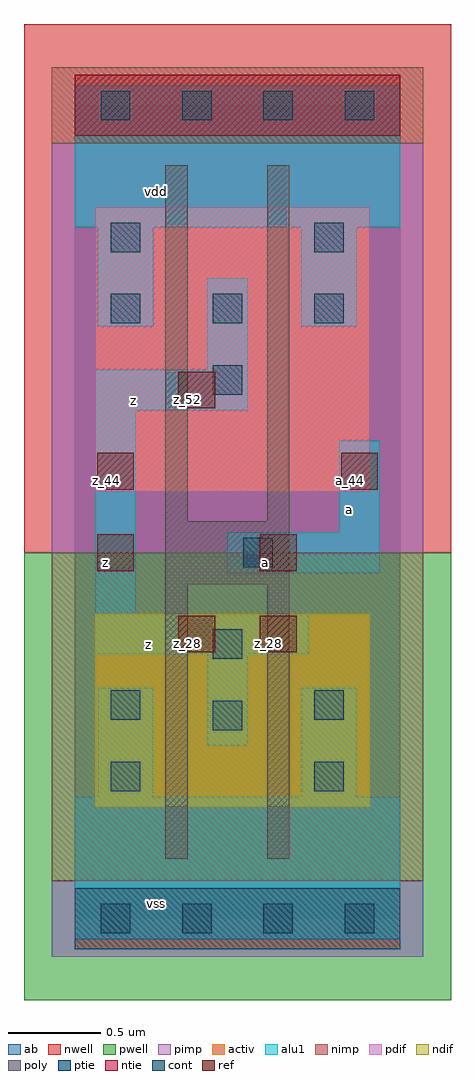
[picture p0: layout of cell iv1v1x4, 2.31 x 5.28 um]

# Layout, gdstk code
import gdstk
lib = gdstk.Library(unit=1e-6, precision=2.5e-09)
def R(c, l, rs):  # rectangles x0, y0, x1, y1
    for r in rs: c.add(gdstk.rectangle(r[:2], r[2:], *l))
def A(c, l, x, y, w, h, nx, ny, dx, dy):  # array of equal rectangles
    R(c, l, [(x+i*dx, y+j*dy, x+i*dx+w, y+j*dy+h) for i in range(nx) for j in range(ny)])
ndif = (3, 0)
pdif = (4, 0)
ntie = (5, 0)
ptie = (6, 0)
ref = (24, 0)
cont = (25, 0)
pwell = (41, 0)
nwell = (42, 0)
activ = (43, 0)
pimp = (44, 0)
nimp = (45, 0)
poly = (46, 0)
alu1 = (49, 0)
ab = (63, 0)

iv1v1x4 = lib.new_cell('iv1v1x4')
R(iv1v1x4, ndif, [(0.11,0.605,1.595,1.65)])
R(iv1v1x4, pdif, [(0.11,2.31,1.595,3.85)])
R(iv1v1x4, ntie, [(0,4.235,1.76,4.565)])
R(iv1v1x4, ptie, [(0,-0.165,1.76,0.165)])
R(iv1v1x4, ref, [(0.56,1.44,0.76,1.64), (1,1.44,1.2,1.64), (0.12,1.88,0.32,2.08), (1,1.88,1.2,2.08), (0.12,2.32,0.32,2.52), (1.44,2.32,1.64,2.52), (0.56,2.76,0.76,2.96)])
A(iv1v1x4, cont, 0.14, -0.08, 0.16, 0.16, 4, 2, 0.44, 4.4)
A(iv1v1x4, cont, 0.195, 3.22, 0.16, 0.16, 3, 1, 0.55, 0)
R(iv1v1x4, cont, [(0.195,0.69,0.355,0.85), (1.295,0.69,1.455,0.85), (0.745,1.02,0.905,1.18), (0.195,1.075,0.355,1.235), (1.295,1.075,1.455,1.235), (0.745,1.405,0.905,1.565), (0.91,1.9,1.07,2.06), (0.745,2.835,0.905,2.995), (0.195,3.605,0.355,3.765), (1.295,3.605,1.455,3.765)])
R(iv1v1x4, pwell, [(-0.275,-0.44,2.035,1.98)])
R(iv1v1x4, nwell, [(-0.275,1.98,2.035,4.84)])
R(iv1v1x4, activ, [(0,-0.165,1.76,0.165), (0.11,0.605,1.595,1.65), (0.11,2.31,1.595,3.85), (0,4.235,1.76,4.565)])
R(iv1v1x4, pimp, [(-0.125,-0.205,1.885,0.205), (-0.125,1.98,1.885,4.195)])
R(iv1v1x4, nimp, [(-0.125,0.205,1.885,1.98), (-0.125,4.195,1.885,4.605)])
R(iv1v1x4, poly, [(0.49,0.325,0.61,1.81), (1.04,0.325,1.16,1.81), (0.49,1.81,1.16,2.15), (0.49,2.15,0.61,4.075), (1.04,2.15,1.16,4.075)])
R(iv1v1x4, alu1, [(0,-0.11,1.76,0.66), (0.125,0.66,0.425,1.25), (1.225,0.66,1.525,1.25), (0.715,0.935,0.935,1.43), (0.11,1.43,1.265,1.65), (0.11,1.65,0.33,2.75), (0.825,1.87,1.65,2.09), (1.43,2.09,1.65,2.585), (0.11,2.75,0.935,2.97), (0.715,2.97,0.935,3.465), (0.125,3.205,0.425,3.74), (1.225,3.205,1.525,3.74), (0,3.74,1.76,4.51)])
R(iv1v1x4, ab, [(0,0,1.76,4.4)])
iv1v1x4.add(gdstk.Label('vss', (0.44,0.0825), layer=49, texttype=0))
iv1v1x4.add(gdstk.Label('z', (0.3975,1.485), layer=49, texttype=0))
iv1v1x4.add(gdstk.Label('a', (1.03,1.925), layer=49, texttype=0))
iv1v1x4.add(gdstk.Label('a', (1.485,2.2125), layer=49, texttype=0))
iv1v1x4.add(gdstk.Label('z', (0.165,1.925), layer=49, texttype=0))
iv1v1x4.add(gdstk.Label('z', (0.315,2.805), layer=49, texttype=0))
iv1v1x4.add(gdstk.Label('vdd', (0.44,3.9325), layer=49, texttype=0))
iv1v1x4.add(gdstk.Label('z_44', (0.17,2.37), layer=24, texttype=0))
iv1v1x4.add(gdstk.Label('z_36', (0.17,1.93), layer=24, texttype=0))
iv1v1x4.add(gdstk.Label('a_44', (1.49,2.37), layer=24, texttype=0))
iv1v1x4.add(gdstk.Label('a_36', (1.05,1.93), layer=24, texttype=0))
iv1v1x4.add(gdstk.Label('z_28', (1.05,1.49), layer=24, texttype=0))
iv1v1x4.add(gdstk.Label('z_52', (0.61,2.81), layer=24, texttype=0))
iv1v1x4.add(gdstk.Label('z_28', (0.61,1.49), layer=24, texttype=0))

lib.write_gds('iv1v1x4.gds')
